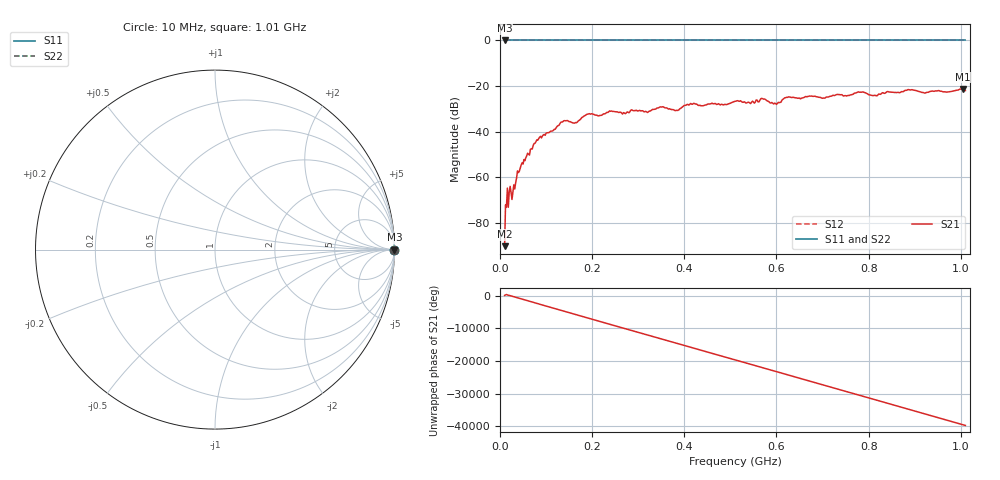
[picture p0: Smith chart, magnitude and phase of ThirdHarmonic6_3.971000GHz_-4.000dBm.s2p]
! 8/17/2025 2:07:15 PM
! C:\ANRITSUVNA\TEMP\TEMP.S2P
! CHANNEL.1
! TR.MEASUREMENT
! RAW.DATA
! RF.CORRECTION.OFF
! AVERAGING.OFF
! IF.BANDWIDTH: 5KHZ
! SWEEPTYPE:  FREQ.SWEEP(Linear)
! Reference Plane Port Info
! PORT:  PORT1  PORT2
! DISTANCE:  0  m  0  m
! TIME:  0  s  0  s
! PHASE.OFFSET:  0  deg.  0  deg.
! LOSS:  0  dB  0  dB
! REF.LOSS:  0  dB  0  dB
! REF.FREQ:  0  Hz  0  Hz
! Power Info
! POWER:  -20  dBm  -20  dBm
! EFF.POWER:  -20  dBm  -20  dBm
! SOURCE.ATTEN:  0  dB  0  dB
! TEST.ATTEN:  0  dB  0  dB
# GHZ S RI R 50.0
! FREQ.GHZ  S11RE  S11IM  S21RE  S21IM  S12RE  S12IM  S22RE  S22IM
!; PortSelection: Port_12
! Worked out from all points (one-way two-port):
!   501 points, 10 MHz to 1.01 GHz, reference 50 ohm
!   highest |S21| = -21.29 dB at 1.004 GHz (marker M1); lowest = -90.2 dB at 10 MHz (marker M2)
!   lowest |S11| = 0.0 dB at 10 MHz (marker M3)
!   |S11| at or under -10 dB: nowhere
!   |S22| runs from 0.0 to 0.0 dB; largest |S21 - S12| = 1.1
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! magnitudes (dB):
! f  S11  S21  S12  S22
! 10 MHz  0.0  -90.2  0.0  0.0
! 20 MHz  0.0  -66.4  0.0  0.0
! 28 MHz  0.0  -66.3  0.0  0.0
! 42 MHz  0.0  -57.3  0.0  0.0
! 76 MHz  0.0  -45.0  0.0  0.0
! 136 MHz  0.0  -35.7  0.0  0.0
! 162 MHz  0.0  -36.2  0.0  0.0
! 178 MHz  0.0  -33.7  0.0  0.0
! 344 MHz  0.0  -29.5  0.0  0.0
! 384 MHz  0.0  -30.6  0.0  0.0
! 416 MHz  0.0  -28.0  0.0  0.0
! 510 MHz  0.0  -26.7  0.0  0.0
! 570 MHz  0.0  -25.5  0.0  0.0
! 598 MHz  0.0  -27.6  0.0  0.0
! 622 MHz  0.0  -24.9  0.0  0.0
! 678 MHz  0.0  -24.5  0.0  0.0
! 702 MHz  0.0  -25.2  0.0  0.0
! 782 MHz  0.0  -22.7  0.0  0.0
! 814 MHz  0.0  -24.1  0.0  0.0
! 844 MHz  0.0  -22.6  0.0  0.0
! 1.004 GHz  0.0  -21.3  0.0  0.0
! 1.01 GHz  0.0  -21.9  0.0  0.0
